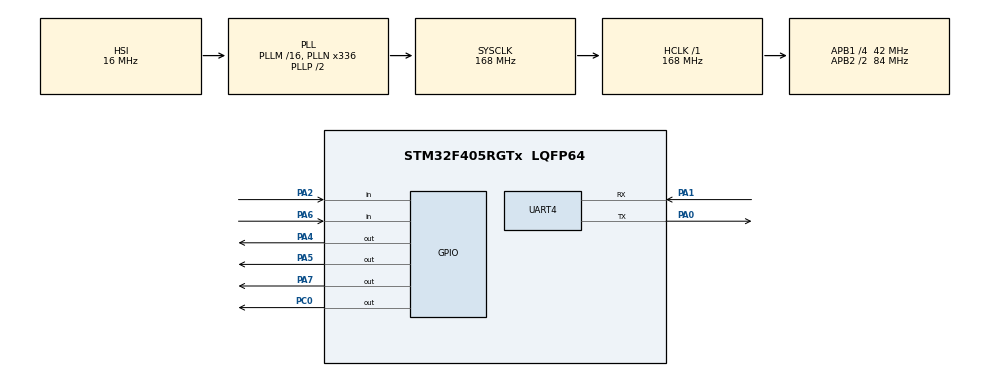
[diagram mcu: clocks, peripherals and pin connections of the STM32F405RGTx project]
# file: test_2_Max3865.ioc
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Dma.Request0=UART4_RX
Dma.UART4_RX.0.Direction=DMA_PERIPH_TO_MEMORY
Dma.UART4_RX.0.FIFOMode=DMA_FIFOMODE_DISABLE
Dma.UART4_RX.0.Instance=DMA1_Stream2
Dma.UART4_RX.0.MemDataAlignment=DMA_MDATAALIGN_BYTE
Dma.UART4_RX.0.MemInc=DMA_MINC_ENABLE
Dma.UART4_RX.0.Mode=DMA_CIRCULAR
Dma.UART4_RX.0.PeriphDataAlignment=DMA_PDATAALIGN_BYTE
Dma.UART4_RX.0.PeriphInc=DMA_PINC_DISABLE
Dma.UART4_RX.0.Priority=DMA_PRIORITY_LOW
Mcu.Family=STM32F4
Mcu.Name=STM32F405RGTx
Mcu.Package=LQFP64
NVIC.DMA1_Stream2_IRQn=true\:0\:0\:false\:false\:true\:false\:true\:true
NVIC.PriorityGroup=NVIC_PRIORITYGROUP_4
NVIC.TIM3_IRQn=true\:1\:0\:true\:false\:true\:true\:true\:true
NVIC.TIM4_IRQn=true\:1\:0\:true\:false\:true\:true\:true\:true
NVIC.UART4_IRQn=true\:0\:0\:false\:true\:true\:1\:true\:true\:true
PA0-WKUP.GPIO_PuPd=GPIO_PULLUP
PA0-WKUP.Mode=Asynchronous
PA0-WKUP.Signal=UART4_TX
PA1.GPIO_PuPd=GPIO_PULLUP
PA1.Mode=Asynchronous
PA1.Signal=UART4_RX
PA13.Mode=Serial_Wire
PA13.Signal=SYS_JTMS-SWDIO
PA14.Mode=Serial_Wire
PA14.Signal=SYS_JTCK-SWCLK
PA2.GPIO_PuPd=GPIO_PULLUP
PA2.Signal=GPIO_Input
PA4.GPIO_PuPd=GPIO_PULLUP
PA4.Signal=GPIO_Output
PA5.GPIO_PuPd=GPIO_PULLUP
PA5.Signal=GPIO_Output
PA6.GPIO_PuPd=GPIO_PULLUP
PA6.Signal=GPIO_Input
PA7.GPIO_PuPd=GPIO_PULLUP
PA7.Signal=GPIO_Output
PC0.GPIO_PuPd=GPIO_NOPULL
PC0.Signal=GPIO_Output
PC14-OSC32_IN.Mode=LSE-External-Oscillator
PC14-OSC32_IN.Signal=RCC_OSC32_IN
PC15-OSC32_OUT.Mode=LSE-External-Oscillator
PC15-OSC32_OUT.Signal=RCC_OSC32_OUT
PH0-OSC_IN.Mode=HSE-External-Oscillator
PH0-OSC_IN.Signal=RCC_OSC_IN
PH1-OSC_OUT.Mode=HSE-External-Oscillator
PH1-OSC_OUT.Signal=RCC_OSC_OUT
ProjectManager.HeapSize=0x200
ProjectManager.StackSize=0x400
ProjectManager.TargetToolchain=MDK-ARM V5.32
RCC.48MHZClocksFreq_Value=84000000
RCC.AHBFreq_Value=168000000
RCC.APB1CLKDivider=RCC_HCLK_DIV4
RCC.APB1Freq_Value=42000000
RCC.APB1TimFreq_Value=84000000
RCC.APB2CLKDivider=RCC_HCLK_DIV2
RCC.APB2Freq_Value=84000000
RCC.APB2TimFreq_Value=168000000
RCC.CortexFreq_Value=168000000
RCC.HCLKFreq_Value=168000000
RCC.HSE_VALUE=8000000
RCC.HSI_VALUE=16000000
RCC.PLLN=336
RCC.SYSCLKFreq_VALUE=168000000
RCC.SYSCLKSource=RCC_SYSCLKSOURCE_PLLCLK
RCC.VCOOutputFreq_Value=336000000
TIM3.AutoReloadPreload=TIM_AUTORELOAD_PRELOAD_ENABLE
TIM3.Period=999
TIM3.Prescaler=8399
TIM4.AutoReloadPreload=TIM_AUTORELOAD_PRELOAD_ENABLE
TIM4.Period=999
TIM4.Prescaler=8399
UART4.VirtualMode=Asynchronous
VP_TIM3_VS_ClockSourceINT.Mode=Internal
VP_TIM4_VS_ClockSourceINT.Mode=Internal
board=custom

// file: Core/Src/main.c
/* USER CODE BEGIN Header */
/**
  ******************************************************************************
  * @file           : main.c
  * @brief          : Main program body
  ******************************************************************************
  * @attention
  *
  * Copyright (c) 2022 STMicroelectronics.
  * All rights reserved.
  *
  * This software is licensed under terms that can be found in the LICENSE file
  * in the root directory of this software component.
  * If no LICENSE file comes with this software, it is provided AS-IS.
  *
  ******************************************************************************
  */
/* USER CODE END Header */
#include "main.h"
#include "dma.h"
#include "tim.h"
#include "usart.h"
#include "gpio.h"

/* USER CODE BEGIN Includes */
#include "max31865.h"
#include "VGUS.h"
#include "beep.h"
#include "math.h"
/* USER CODE END Includes */

/* USER CODE BEGIN PD */
#define hour_address 			0x25
#define min_address 			0x29
#define second_address 		0x33
#define tempture_address 	0x0020
#define alarm_tempture_address 0x0090
/* USER CODE END PD */

/* USER CODE BEGIN PV */
/*测试变量*/
int test_flag = 0;
uint16_t test_adress = 0x0020;
float test_data = 0;
/*会用到的全局变量*/
double tempture,warn_temp = 100;																//温度
uint8_t second = 0x00, min = 0x04, hour = 0x13,warn_time = 0;		//时间
uint8_t is_warning;																							//报警标志位
int time = 0,bee_times=0;																				//时间

uint16_t History_first_pos = 0x40;															//历史记录第一个开始的地址
/*串口接收变量*/
struct Receive uart_receive = {0};
struct Receive_data uart_data = {0};

/* USER CODE END PV */

void SystemClock_Config(void);
static void MX_NVIC_Init(void);

int main(void)
{

  /* MCU Configuration--------------------------------------------------------*/

  /* Reset of all peripherals, Initializes the Flash interface and the Systick. */
  HAL_Init();

  /* Configure the system clock */
  SystemClock_Config();

  /* Initialize all configured peripherals */
  MX_GPIO_Init();
  MX_TIM3_Init();
  MX_DMA_Init();
  MX_UART4_Init();
  MX_TIM4_Init();

  /* Initialize interrupts */
  MX_NVIC_Init();
  /* USER CODE BEGIN 2 */
	MAX31865_Init();
	MAX31865_Cfg();

	/* 定时器TIM3开启中断 */
	__HAL_TIM_CLEAR_IT(&htim3, TIM_IT_UPDATE);							/* 清除定时器初始化过程中的更新中断标志，避免定时器一启动就中断，*/
	HAL_TIM_Base_Start_IT(&htim3);													/* 使能定时器3更新中断并启动定时器*/

	/* 定时器TIM4开启中断 */
	__HAL_TIM_CLEAR_IT(&htim4 , TIM_IT_UPDATE);
	HAL_TIM_Base_Start_IT(&htim4);

	/*使能空闲中断，并使用receive_buff接收串口发送过来的数据*/
	__HAL_UART_ENABLE_IT(&huart4, UART_IT_IDLE);
	HAL_UART_Receive_DMA(&huart4, (uint8_t*)uart_receive.receive_buff, 50);     //设置DMA传输，讲串口1的数据搬运到recvive_buff中，

	/* 设置初始报警温度 可修改*/
	Send_Temperature(warn_temp,alarm_tempture_address);

  /* USER CODE END 2 */

  /* Infinite loop */
  while (1)
  {

    /* USER CODE BEGIN 3 */
		tempture=MAX31865_GetTemp() + 1;   //采样得到温度

		/*    设置报警温度    */
		if(uart_receive.data_Receive_done)
		{
			uart_data  = analysis_VGUS_data(uart_receive.receive_data);
			/*		判断是哪一个按键    */
			if(uart_data.data[1] == 0xA1)//-10°
				warn_temp -= 10;
			else if(uart_data.data[1] == 0xB2)
				warn_temp -= 1;
			else if(uart_data.data[1] == 0xC3)
				warn_temp += 1;
			else if(uart_data.data[1] == 0xD4)
				warn_temp += 10;
			/*		更新显示数据			*/
			Send_Temperature(warn_temp,alarm_tempture_address);
			uart_receive.data_Receive_done = 0;
		}
	}
  /* USER CODE END 3 */
}

void SystemClock_Config(void)
{
  RCC_OscInitTypeDef RCC_OscInitStruct = {0};
  RCC_ClkInitTypeDef RCC_ClkInitStruct = {0};

  /** Configure the main internal regulator output voltage
  */
  __HAL_RCC_PWR_CLK_ENABLE();
  __HAL_PWR_VOLTAGESCALING_CONFIG(PWR_REGULATOR_VOLTAGE_SCALE1);

  /** Initializes the RCC Oscillators according to the specified parameters
  * in the RCC_OscInitTypeDef structure.
  */
  RCC_OscInitStruct.OscillatorType = RCC_OSCILLATORTYPE_HSI;
  RCC_OscInitStruct.HSIState = RCC_HSI_ON;
  RCC_OscInitStruct.HSICalibrationValue = RCC_HSICALIBRATION_DEFAULT;
  RCC_OscInitStruct.PLL.PLLState = RCC_PLL_ON;
  RCC_OscInitStruct.PLL.PLLSource = RCC_PLLSOURCE_HSI;
  RCC_OscInitStruct.PLL.PLLM = 16;
  RCC_OscInitStruct.PLL.PLLN = 336;
  RCC_OscInitStruct.PLL.PLLP = RCC_PLLP_DIV2;
  RCC_OscInitStruct.PLL.PLLQ = 4;
  if (HAL_RCC_OscConfig(&RCC_OscInitStruct) != HAL_OK)
  {
    Error_Handler();
  }

  /** Initializes the CPU, AHB and APB buses clocks
  */
  RCC_ClkInitStruct.ClockType = RCC_CLOCKTYPE_HCLK|RCC_CLOCKTYPE_SYSCLK
                              |RCC_CLOCKTYPE_PCLK1|RCC_CLOCKTYPE_PCLK2;
  RCC_ClkInitStruct.SYSCLKSource = RCC_SYSCLKSOURCE_PLLCLK;
  RCC_ClkInitStruct.AHBCLKDivider = RCC_SYSCLK_DIV1;
  RCC_ClkInitStruct.APB1CLKDivider = RCC_HCLK_DIV4;
  RCC_ClkInitStruct.APB2CLKDivider = RCC_HCLK_DIV2;

  if (HAL_RCC_ClockConfig(&RCC_ClkInitStruct, FLASH_LATENCY_5) != HAL_OK)
  {
    Error_Handler();
  }
}

/**
  * @brief NVIC Configuration.
  * @retval None
  */
static void MX_NVIC_Init(void)
{
  /* UART4_IRQn interrupt configuration */
  HAL_NVIC_SetPriority(UART4_IRQn, 0, 0);
  HAL_NVIC_EnableIRQ(UART4_IRQn);
}

/* USER CODE BEGIN 4 */
//定时器中断函数
void HAL_TIM_PeriodElapsedCallback(TIM_HandleTypeDef *htim)
{
	if(htim->Instance == htim3.Instance)
	{
		time++;		//每100ms，time加1
		//每隔1ms获取一次MAX31865数值记录当前温度
		if((tempture>warn_temp) && (tempture < 300))
		{
			if(!is_warning)
			{
				is_warning = 1;
				//发送历史报警温度

				Send_Temperature(tempture,History_first_pos + 0x30);
				Send_Time(second,History_first_pos + 0x20);
				Send_Time(min,   History_first_pos + 0x10);
				Send_Time(hour,  History_first_pos);
				History_first_pos += 0x02;									//每次发送完毕，历史报警存储地址增加两位
				if (History_first_pos >= 0x4A) 							//如果历史报警位置超过0x4A，回到原位置，覆盖最早的报警信息
					History_first_pos = 0x40;
			}
		}
		else if(is_warning)
		{
			if(warn_time>=50)
			{
				is_warning = 0;
				bee_times = 0;
				BEEP_OFF();
				warn_time = 0;
			}
		}

		if(time ==10)
		{
			/*	时间计算	*/
			time = 0;
			second++;
			if(second >= 60)
			{
				second = 0;
				min++;
				if(min >= 60)
				{
					min = 0;
					hour++;
				}
			}

			/*	max31865相关信息	*/
			//发送温度信息
			Send_Temperature(tempture,tempture_address);
			//发送时间信息
			Send_Time(hour,hour_address);
			Send_Time(min,min_address);
			Send_Time(second,second_address);
		}

	}

	if(htim->Instance == htim4.Instance)
	{
		if((!bee_times)&&(is_warning))	//如果蜂鸣器响次数为0且在报警状态
		{
			warn_time++;
			//GPIO输出1
			BEEP_ON();
			if(warn_time >= 50)
			{
				//GPIO输出0
				BEEP_OFF();
				bee_times = 1;							//蜂鸣器响次数为1
				//warn_time = 0;
			}
		}
	}
}

/* USER CODE END 4 */

void Error_Handler(void)
{
  __disable_irq();
  while (1)
  {
  }
}
